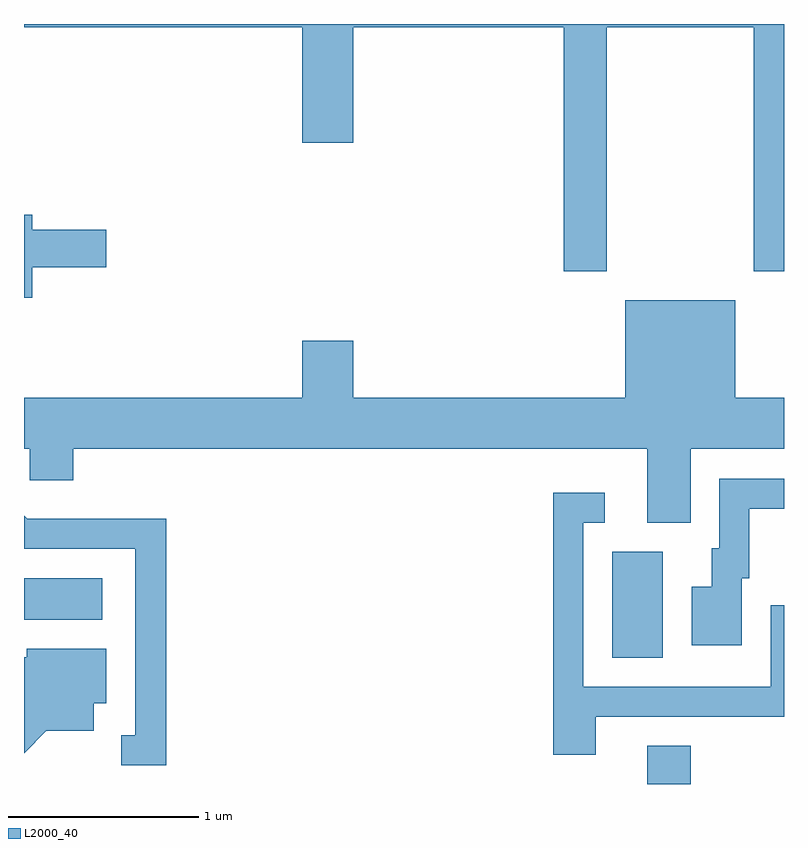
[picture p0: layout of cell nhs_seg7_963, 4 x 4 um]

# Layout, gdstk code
import gdstk
lib = gdstk.Library(unit=1e-6, precision=1e-09)
def R(c, l, rs):  # rectangles x0, y0, x1, y1
    for r in rs: c.add(gdstk.rectangle(r[:2], r[2:], *l))
def P(c, l, *ps):  # polygons
    for p in ps: c.add(gdstk.Polygon(p, *l))
L2000_40 = (2000, 40)

nhs_seg7_963 = lib.new_cell('nhs_seg7_963')
R(nhs_seg7_963, L2000_40, [(216.891,1790.252,217.119,1790.454), (216.706,1790.916,216.974,1791.474), (213.611,1791.116,214.024,1791.334)])
P(nhs_seg7_963, L2000_40, [(216.679,1794.236),(217.451,1794.236),(217.451,1792.951),(217.611,1792.951),(217.611,1794.252),(213.611,1794.252),(213.611,1794.236),(215.076,1794.236),(215.076,1793.626),(215.344,1793.626),(215.344,1794.236),(216.451,1794.236),(216.451,1792.951),(216.679,1792.951)],
  [(213.654,1792.971),(214.044,1792.971),(214.044,1793.169),(213.654,1793.169),(213.654,1793.249),(213.611,1793.249),(213.611,1792.811),(213.654,1792.811)],
  [(217.119,1792.016),(217.611,1792.016),(217.611,1792.284),(217.354,1792.284),(217.354,1792.799),(216.776,1792.799),(216.776,1792.284),(215.344,1792.284),(215.344,1792.584),(215.076,1792.584),(215.076,1792.284),(213.611,1792.284),(213.611,1792.016),(213.641,1792.016),(213.641,1791.851),(213.869,1791.851),(213.869,1792.016),(216.891,1792.016),(216.891,1791.626),(217.119,1791.626)],
  [(217.389,1791.336),(217.429,1791.336),(217.429,1791.701),(217.611,1791.701),(217.611,1791.859),(217.271,1791.859),(217.271,1791.494),(217.231,1791.494),(217.231,1791.289),(217.126,1791.289),(217.126,1790.981),(217.389,1790.981)],
  [(216.619,1790.606),(217.611,1790.606),(217.611,1791.193),(217.541,1791.193),(217.541,1790.764),(216.554,1790.764),(216.554,1791.626),(216.668,1791.626),(216.668,1791.784),(216.396,1791.784),(216.396,1790.406),(216.619,1790.406)],
  [(214.359,1791.649),(213.627,1791.649),(213.611,1791.665),(213.611,1791.491),(214.196,1791.491),(214.196,1790.509),(214.123,1790.509),(214.123,1790.351),(214.359,1790.351)],
  [(213.727,1790.531),(213.979,1790.531),(213.979,1790.676),(214.044,1790.676),(214.044,1790.964),(213.626,1790.964),(213.626,1790.919),(213.611,1790.919),(213.611,1790.415)])

lib.write_gds('nhs_seg7_963.gds')
